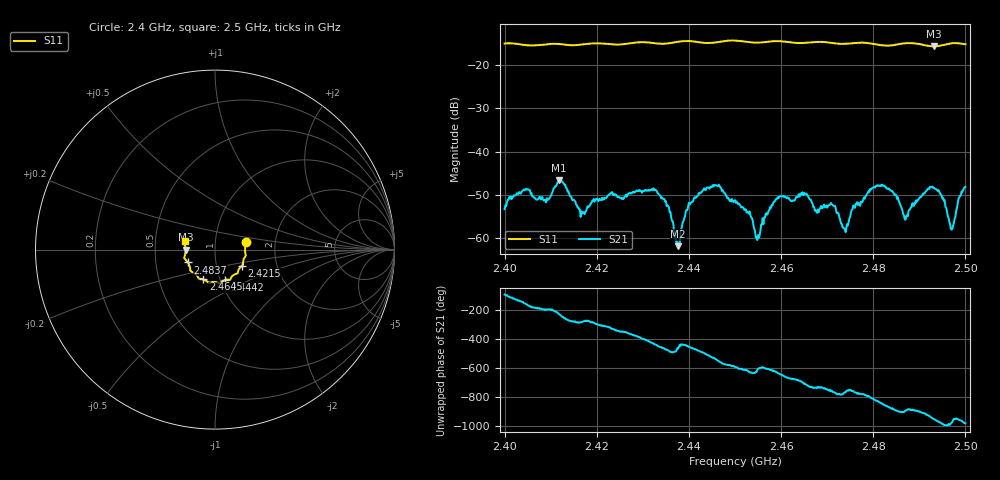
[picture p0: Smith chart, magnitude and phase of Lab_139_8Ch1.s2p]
# Hz S RI R 50
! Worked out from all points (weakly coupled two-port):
!   601 points, 2.4 GHz to 2.5 GHz, reference 50 ohm
!   highest |S21| = -46.66 dB at 2.4118 GHz (marker M1); lowest = -61.8 dB at 2.4377 GHz (marker M2)
!   lowest |S11| = -15.7 dB at 2.4932 GHz (marker M3), VSWR 1.39, Z = 35.9 - j0.0572 ohm
!   |S11| at or under -10 dB: start of sweep to end of sweep
!   S12 and S22 are empty: the file has one direction only
!   S11 on the Smith chart (normalised r, x): 2.4 GHz: 1.41, +0.12; 2.4215 GHz: 1.33, -0.25; 2.4442 GHz: 1.05, -0.37; 2.4645 GHz: 0.83, -0.29; 2.4837 GHz: 0.73, -0.11; 2.5 GHz: 0.71, +0.07
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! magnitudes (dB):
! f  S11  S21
! 2.4 GHz  -15.1  -53.3
! 2.4118 GHz  -15.2  -46.7
! 2.4167 GHz  -15.3  -53.7
! 2.4215 GHz  -15.1  -50.7
! 2.4333 GHz  -15.1  -49.7
! 2.4377 GHz  -14.7  -61.8
! 2.4398 GHz  -14.5  -52.6
! 2.4442 GHz  -15.0  -48.2
! 2.45 GHz  -14.4  -51.2
! 2.455 GHz  -14.9  -59.3
! 2.4588 GHz  -14.5  -51.1
! 2.4645 GHz  -15.0  -50.0
! 2.4667 GHz  -14.8  -51.8
! 2.4713 GHz  -15.0  -52.5
! 2.4738 GHz  -15.1  -57.8
! 2.4795 GHz  -15.1  -48.8
! 2.4833 GHz  -15.6  -48.5
! 2.4837 GHz  -15.5  -48.8
! 2.487 GHz  -15.0  -55.7
! 2.4932 GHz  -15.7  -48.3
! 2.497 GHz  -15.0  -58.0
! 2.5 GHz  -15.3  -48.1
